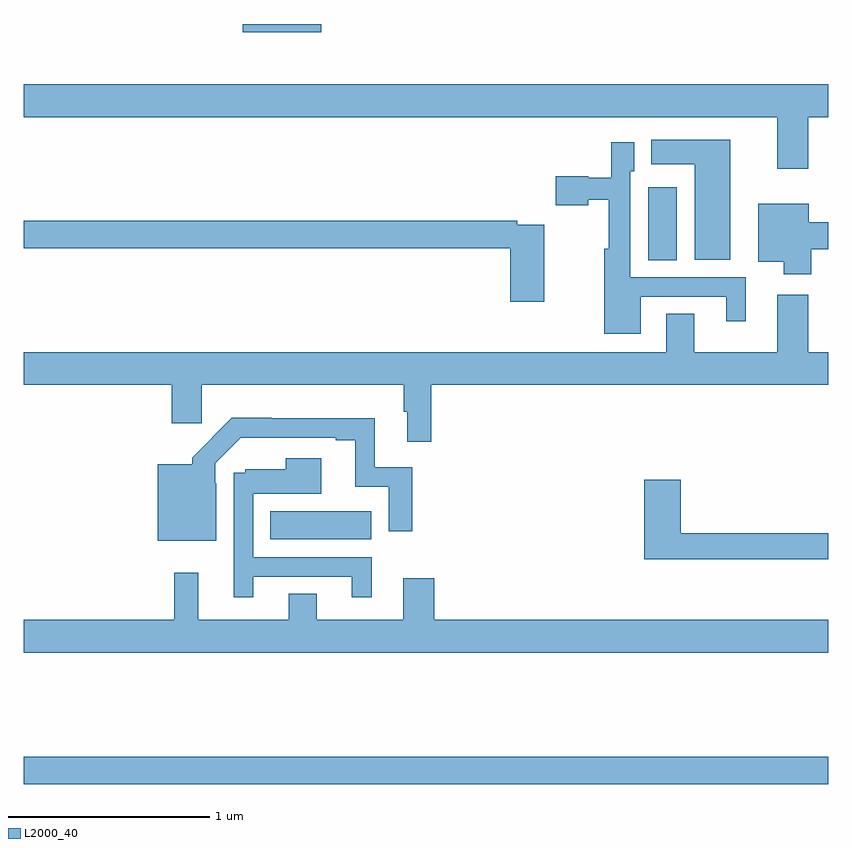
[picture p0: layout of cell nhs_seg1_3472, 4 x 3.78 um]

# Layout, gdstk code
import gdstk
lib = gdstk.Library(unit=1e-6, precision=1e-09)
def R(c, l, rs):  # rectangles x0, y0, x1, y1
    for r in rs: c.add(gdstk.rectangle(r[:2], r[2:], *l))
def P(c, l, *ps):  # polygons
    for p in ps: c.add(gdstk.Polygon(p, *l))
L2000_40 = (2000, 40)

nhs_seg1_3472 = lib.new_cell('nhs_seg1_3472')
R(nhs_seg1_3472, L2000_40, [(299,544.42,303,544.556), (300.226,545.636,300.727,545.776), (302.105,547.024,302.248,547.387), (300.09,548.159,300.478,548.199)])
P(nhs_seg1_3472, L2000_40, [(302.9,547.736),(303,547.736),(303,547.9),(299,547.9),(299,547.736),(302.747,547.736),(302.747,547.479),(302.9,547.479)],
  [(302.512,547.624),(302.12,547.624),(302.12,547.502),(302.336,547.502),(302.336,547.028),(302.512,547.028)],
  [(302.068,546.843),(302.492,546.843),(302.492,546.72),(302.59,546.72),(302.59,546.939),(302.016,546.939),(302.016,547.467),(302.035,547.467),(302.035,547.612),(301.92,547.612),(301.92,547.435),(301.806,547.435),(301.806,547.443),(301.644,547.443),(301.644,547.298),(301.806,547.298),(301.806,547.324),(301.908,547.324),(301.908,547.081),(301.886,547.081),(301.886,546.659),(302.068,546.659)],
  [(302.915,547.079),(303,547.079),(303,547.213),(302.902,547.213),(302.902,547.306),(302.651,547.306),(302.651,547.016),(302.78,547.016),(302.78,546.954),(302.915,546.954)],
  [(301.588,547.2),(301.454,547.2),(301.454,547.22),(299,547.22),(299,547.084),(301.418,547.084),(301.418,546.819),(301.588,546.819)],
  [(301.025,546.404),(303,546.404),(303,546.568),(302.9,546.568),(302.9,546.853),(302.747,546.853),(302.747,546.568),(302.335,546.568),(302.335,546.758),(302.195,546.758),(302.195,546.568),(299,546.568),(299,546.404),(299.735,546.404),(299.735,546.213),(299.885,546.213),(299.885,546.404),(300.889,546.404),(300.889,546.272),(300.908,546.272),(300.908,546.123),(301.025,546.123)],
  [(299.956,545.915),(299.952,545.915),(299.952,546.015),(300.078,546.141),(300.551,546.141),(300.551,546.129),(300.647,546.129),(300.647,545.898),(300.816,545.898),(300.816,545.676),(300.932,545.676),(300.932,545.994),(300.745,545.994),(300.745,546.238),(300.233,546.238),(300.233,546.241),(300.034,546.241),(299.837,546.043),(299.837,546.01),(299.666,546.01),(299.666,545.63),(299.956,545.63)],
  [(300.142,545.451),(300.632,545.451),(300.632,545.349),(300.73,545.349),(300.73,545.547),(300.141,545.547),(300.141,545.864),(300.478,545.864),(300.478,546.04),(300.302,546.04),(300.302,545.986),(300.102,545.986),(300.102,545.967),(300.045,545.967),(300.045,545.349),(300.142,545.349)],
  [(303,545.666),(302.267,545.666),(302.267,545.932),(302.084,545.932),(302.084,545.538),(303,545.538)],
  [(300.887,545.443),(300.887,545.236),(300.457,545.236),(300.457,545.366),(300.317,545.366),(300.317,545.236),(299.867,545.236),(299.867,545.47),(299.749,545.47),(299.749,545.236),(299,545.236),(299,545.072),(303,545.072),(303,545.236),(301.04,545.236),(301.04,545.443)])

lib.write_gds('nhs_seg1_3472.gds')
